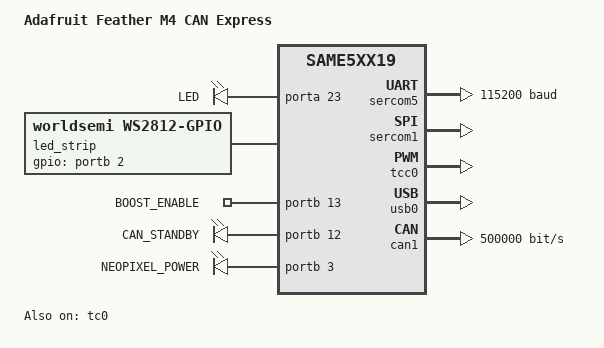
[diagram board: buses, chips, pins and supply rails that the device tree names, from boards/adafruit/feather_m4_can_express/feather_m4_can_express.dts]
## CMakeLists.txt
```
# SPDX-License-Identifier: Apache-2.0

cmake_minimum_required(VERSION 3.20.0)

# Add custom board directory
list(APPEND BOARD_ROOT ${CMAKE_CURRENT_SOURCE_DIR})

# Add custom DTS bindings directory
list(APPEND DTS_ROOT ${CMAKE_CURRENT_SOURCE_DIR})

find_package(Zephyr REQUIRED HINTS $ENV{ZEPHYR_BASE})
project(m4_express_blinky)

target_sources(app PRIVATE
    src/main.c
    src/ws2812_gpio_sam0.c
)
```

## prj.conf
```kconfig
# Logging - use immediate mode for USB CDC ACM compatibility
CONFIG_LOG=y
CONFIG_LOG_MODE_IMMEDIATE=y

# LED Strip driver
CONFIG_LED_STRIP=y
CONFIG_LED_STRIP_LOG_LEVEL_DBG=y

# USB CDC ACM for console
CONFIG_USB_DEVICE_STACK=y
CONFIG_USB_CDC_ACM=y
CONFIG_USB_DEVICE_INITIALIZE_AT_BOOT=y
CONFIG_CONSOLE=y
CONFIG_UART_CONSOLE=y

# USB device identification
CONFIG_USB_DEVICE_PRODUCT="Feather M4 CAN Express"
CONFIG_USB_DEVICE_VID=0x239A
CONFIG_USB_DEVICE_PID=0x0022

# Increase log buffer for debugging
CONFIG_LOG_BUFFER_SIZE=2048

# CAN bus support
CONFIG_CAN=y
CONFIG_CAN_LOG_LEVEL_DBG=y

# GPIO for transceiver control
CONFIG_GPIO=y
```

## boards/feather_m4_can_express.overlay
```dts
/*
 * Application overlay for Feather M4 CAN Express
 * Configures USB CDC ACM as console
 *
 * SPDX-License-Identifier: Apache-2.0
 */

/ {
    chosen {
        zephyr,console = &cdc_acm_uart0;
    };
};

&zephyr_udc0 {
    cdc_acm_uart0: cdc_acm_uart0 {
        compatible = "zephyr,cdc-acm-uart";
    };
};
```

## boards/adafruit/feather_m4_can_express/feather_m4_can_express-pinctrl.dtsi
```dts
/*
 * Copyright (c) 2024
 * SPDX-License-Identifier: Apache-2.0
 *
 * Pinctrl for Adafruit Feather M4 CAN Express (ATSAME51J19A)
 */

#include <dt-bindings/pinctrl/same51j-pinctrl.h>

&pinctrl {
	sercom1_spi_default: sercom1_spi_default {
		group1 {
			pinmux = <PB23C_SERCOM1_PAD3>,
				 <PA17C_SERCOM1_PAD1>,
				 <PB22C_SERCOM1_PAD2>;
		};
	};

	sercom2_i2c_default: sercom3_i2c_default {
		group1 {
			pinmux = <PA12C_SERCOM2_PAD0>,
				 <PA13C_SERCOM2_PAD1>;
		};
	};

	sercom5_uart_default: sercom5_uart_default {
		group1 {
			pinmux = <PB17C_SERCOM5_PAD1>,
				 <PB16C_SERCOM5_PAD0>;
		};
	};

	pwm0_default: pwm0_default {
		group1 {
			pinmux = <PA22G_TCC0_WO2>;
		};
	};

	tc0_default: tc0_default {
		group1 {
			pinmux = <PA5E_TC0_WO1>;
		};
	};

	usb_dc_default: usb_dc_default {
		group1 {
			pinmux = <PA25H_USB_DP>,
				 <PA24H_USB_DM>;
		};
	};

	/* CAN1: TX=PB14, RX=PB15, both on mux H */
	can1_default: can1_default {
		group1 {
			pinmux = <PB14H_CAN1_TX>,
				 <PB15H_CAN1_RX>;
		};
	};
};
```

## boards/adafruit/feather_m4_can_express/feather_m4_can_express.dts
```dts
/*
 * Copyright (c) 2024
 * SPDX-License-Identifier: Apache-2.0
 *
 * Adafruit Feather M4 CAN Express
 * Uses ATSAME51J19A (NOT SAMD51!) which has CAN support
 */

/dts-v1/;
#include <atmel/same5xx19.dtsi>
#include "feather_m4_can_express-pinctrl.dtsi"
#include <zephyr/dt-bindings/led/led.h>

/ {
	model = "Adafruit Feather M4 CAN Express";
	compatible = "adafruit,feather-m4-can-express";

	chosen {
		zephyr,console = &sercom5;
		zephyr,shell-uart = &sercom5;
		zephyr,sram = &sram0;
		zephyr,flash = &flash0;
		zephyr,code-partition = &code_partition;
		zephyr,canbus = &can1;
	};

	aliases {
		led0 = &led0;
		pwm-0 = &tcc0;
		pwm-1 = &tc0;
		led-strip = &led_strip;
		can-boost-enable = &boost_enable;
		can-standby = &can_standby;
	};

	leds {
		compatible = "gpio-leds";

		led0: led_0 {
			gpios = <&porta 23 0>;
			label = "LED";
		};
	};

	/* NeoPixel LED - PB02 data, PB03 power enable */
	led_strip: ws2812 {
		compatible = "worldsemi,ws2812-gpio";
		gpios = <&portb 2 0>;
		chain-length = <1>;
		color-mapping = <LED_COLOR_ID_GREEN
				 LED_COLOR_ID_RED
				 LED_COLOR_ID_BLUE
				 LED_COLOR_ID_WHITE>;
	};

	/* CAN transceiver control GPIOs */
	can_xcvr_ctrl {
		compatible = "gpio-leds";

		/* Boost converter enable: PB13 (HIGH to enable 5V for CAN bus) */
		boost_enable: boost_enable {
			gpios = <&portb 13 0>;
			label = "BOOST_ENABLE";
		};

		/* CAN transceiver standby: PB12 (LOW to enable transceiver) */
		can_standby: can_standby {
			gpios = <&portb 12 0>;
			label = "CAN_STANDBY";
		};
	};

	/* NeoPixel power enable: PB03 */
	neopixel_pwr {
		compatible = "gpio-leds";
		neopixel_power: neopixel_power {
			gpios = <&portb 3 0>;
			label = "NEOPIXEL_POWER";
		};
	};
};

&cpu0 {
	clock-frequency = <120000000>;
};

&sercom5 {
	status = "okay";
	compatible = "atmel,sam0-uart";
	current-speed = <115200>;
	rxpo = <1>;
	txpo = <0>;
	pinctrl-0 = <&sercom5_uart_default>;
	pinctrl-names = "default";
};

&sercom1 {
	status = "okay";
	compatible = "atmel,sam0-spi";
	dipo = <3>;
	dopo = <0>;
	#address-cells = <1>;
	#size-cells = <0>;
	pinctrl-0 = <&sercom1_spi_default>;
	pinctrl-names = "default";
};

&tcc0 {
	status = "okay";
	compatible = "atmel,sam0-tcc-pwm";
	prescaler = <8>;
	#pwm-cells = <2>;
	pinctrl-0 = <&pwm0_default>;
	pinctrl-names = "default";
};

&tc0 {
	status = "okay";
	compatible = "atmel,sam0-tc-pwm";
	prescaler = <1024>;
	#pwm-cells = <2>;
	channels = <2>;
	counter-size = <16>;
	pinctrl-0 = <&tc0_default>;
	pinctrl-names = "default";
};

zephyr_udc0: &usb0 {
	status = "okay";
	pinctrl-0 = <&usb_dc_default>;
	pinctrl-names = "default";
};

&dmac {
	status = "okay";
};

/* CAN1 controller - connected to on-board transceiver */
&can1 {
	status = "okay";
	pinctrl-0 = <&can1_default>;
	pinctrl-names = "default";
	bus-speed = <500000>;

	can-transceiver {
		max-bitrate = <1000000>;
	};
};

&flash0 {
	partitions {
		compatible = "fixed-partitions";
		#address-cells = <1>;
		#size-cells = <1>;

		boot_partition: partition@0 {
			label = "uf2";
			reg = <0x00000000 DT_SIZE_K(16)>;
			read-only;
		};

		code_partition: partition@4000 {
			label = "code";
			reg = <0x4000 DT_SIZE_K(512-16-16)>;
			read-only;
		};

		storage_partition: partition@7c000 {
			label = "storage";
			reg = <0x7c000 DT_SIZE_K(16)>;
		};
	};
};
```

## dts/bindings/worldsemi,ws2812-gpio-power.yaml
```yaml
# Copyright (c) 2024
# SPDX-License-Identifier: Apache-2.0

description: |
  Worldsemi WS2812 LED strip with optional power control GPIO.

  Extension of the standard ws2812-gpio binding that adds support for
  boards where the NeoPixel has a separate power enable pin (like the
  Adafruit Feather M4 Express CAN).

compatible: "worldsemi,ws2812-gpio-power"

include: worldsemi,ws2812-gpio.yaml

properties:
  power-gpios:
    type: phandle-array
    description: |
      Optional GPIO pin that controls power to the NeoPixel.
      Set HIGH to enable power, LOW to disable.
      Required on boards like Feather M4 Express CAN where the
      NeoPixel is powered from a GPIO rather than the 3.3V rail.
```

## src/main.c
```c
/*
 * NeoPixel LED Strip + CAN Bus Demo for Adafruit Feather M4 CAN Express
 *
 * SPDX-License-Identifier: Apache-2.0
 */

#include <string.h>

#define LOG_LEVEL 4
#include <zephyr/logging/log.h>
LOG_MODULE_REGISTER(main);

#include <zephyr/kernel.h>
#include <zephyr/drivers/led_strip.h>
#include <zephyr/drivers/gpio.h>
#include <zephyr/drivers/can.h>
#include <zephyr/device.h>
#include <zephyr/sys/util.h>

#define STRIP_NUM_PIXELS 1

#define RGB(_r, _g, _b) { .r = (_r), .g = (_g), .b = (_b) }

static const struct led_rgb colors[] = {
	RGB(0x20, 0x00, 0x00), /* red */
	RGB(0x00, 0x20, 0x00), /* green */
	RGB(0x00, 0x00, 0x20), /* blue */
	RGB(0x20, 0x20, 0x20), /* white (RGB mix) */
};

static struct led_rgb pixels[STRIP_NUM_PIXELS];

/* Device handles */
static const struct device *const strip = DEVICE_DT_GET(DT_NODELABEL(led_strip));
static const struct device *const can_dev = DEVICE_DT_GET(DT_CHOSEN(zephyr_canbus));

/* GPIO for CAN transceiver control */
static const struct gpio_dt_spec boost_enable = GPIO_DT_SPEC_GET(DT_ALIAS(can_boost_enable), gpios);
static const struct gpio_dt_spec can_standby = GPIO_DT_SPEC_GET(DT_ALIAS(can_standby), gpios);

/* GPIO for NeoPixel power */
static const struct gpio_dt_spec neopixel_pwr = GPIO_DT_SPEC_GET(DT_NODELABEL(neopixel_power), gpios);

/* CAN receive thread stack */
#define CAN_RX_THREAD_STACK_SIZE 1024
#define CAN_RX_THREAD_PRIORITY 5

K_THREAD_STACK_DEFINE(can_rx_stack, CAN_RX_THREAD_STACK_SIZE);
static struct k_thread can_rx_thread_data;

/* CAN message queue */
CAN_MSGQ_DEFINE(can_msgq, 10);

static uint32_t rx_frame_count = 0;

/**
 * Enable the CAN transceiver hardware
 * - Set BOOST_ENABLE high to power the 5V boost converter
 * - Set CAN_STANDBY low to take transceiver out of standby
 */
static int can_transceiver_enable(void)
{
	int ret;

	/* Configure boost enable pin */
	if (!gpio_is_ready_dt(&boost_enable)) {
		LOG_ERR("Boost enable GPIO not ready");
		return -ENODEV;
	}

	ret = gpio_pin_configure_dt(&boost_enable, GPIO_OUTPUT_ACTIVE);
	if (ret < 0) {
		LOG_ERR("Failed to configure boost enable: %d", ret);
		return ret;
	}

	/* Configure standby pin */
	if (!gpio_is_ready_dt(&can_standby)) {
		LOG_ERR("CAN standby GPIO not ready");
		return -ENODEV;
	}

	/* Set standby LOW to enable transceiver (active low) */
	ret = gpio_pin_configure_dt(&can_standby, GPIO_OUTPUT_INACTIVE);
	if (ret < 0) {
		LOG_ERR("Failed to configure CAN standby: %d", ret);
		return ret;
	}

	LOG_INF("CAN transceiver enabled (boost=HIGH, standby=LOW)");
	return 0;
}

/**
 * CAN receive thread - listens for frames and logs them
 */
static void can_rx_thread(void *arg1, void *arg2, void *arg3)
{
	ARG_UNUSED(arg1);
	ARG_UNUSED(arg2);
	ARG_UNUSED(arg3);

	struct can_frame frame;

	LOG_INF("CAN RX thread started, waiting for frames...");

	while (1) {
		/* Wait for a CAN frame */
		if (k_msgq_get(&can_msgq, &frame, K_FOREVER) == 0) {
			rx_frame_count++;

			LOG_INF("CAN frame #%u: ID=0x%03X [%s] DLC=%d",
				rx_frame_count,
				frame.id,
				(frame.flags & CAN_FRAME_IDE) ? "EXT" : "STD",
				frame.dlc);

			/* Print data bytes */
			if (frame.dlc > 0) {
				char hex_buf[64];
				int pos = 0;
				for (int i = 0; i < frame.dlc && pos < sizeof(hex_buf) - 3; i++) {
					pos += snprintf(hex_buf + pos, sizeof(hex_buf) - pos,
							"%02X ", frame.data[i]);
				}
				LOG_INF("  Data: %s", hex_buf);
			}
		}
	}
}

/**
 * CAN receive callback - queues received frames
 */
static void can_rx_callback(const struct device *dev, struct can_frame *frame, void *user_data)
{
	ARG_UNUSED(dev);
	ARG_UNUSED(user_data);

	/* Queue the frame for processing by the RX thread */
	if (k_msgq_put(&can_msgq, frame, K_NO_WAIT) != 0) {
		LOG_WRN("CAN RX queue full, frame dropped");
	}
}

/**
 * Initialize CAN bus at 500 kbit/s
 */
static int can_init(void)
{
	int ret;
	struct can_filter filter = {
		.flags = 0,  /* Accept all standard frames */
		.id = 0,
		.mask = 0,   /* Match any ID */
	};

	if (!device_is_ready(can_dev)) {
		LOG_ERR("CAN device not ready");
		return -ENODEV;
	}

	/* Set bitrate to 500 kbit/s */
	ret = can_set_bitrate(can_dev, 500000);
	if (ret < 0) {
		LOG_ERR("Failed to set CAN bitrate: %d", ret);
		return ret;
	}

	/* Add a filter to receive all frames */
	ret = can_add_rx_filter_msgq(can_dev, &can_msgq, &filter);
	if (ret < 0) {
		LOG_ERR("Failed to add CAN filter: %d", ret);
		return ret;
	}

	/* Start the CAN controller */
	ret = can_start(can_dev);
	if (ret < 0) {
		LOG_ERR("Failed to start CAN: %d", ret);
		return ret;
	}

	LOG_INF("CAN initialized at 500 kbit/s");

	/* Start the RX processing thread */
	k_thread_create(&can_rx_thread_data, can_rx_stack,
			K_THREAD_STACK_SIZEOF(can_rx_stack),
			can_rx_thread, NULL, NULL, NULL,
			CAN_RX_THREAD_PRIORITY, 0, K_NO_WAIT);
	k_thread_name_set(&can_rx_thread_data, "can_rx");

	return 0;
}

/**
 * Enable NeoPixel power
 */
static int neopixel_power_enable(void)
{
	int ret;

	if (!gpio_is_ready_dt(&neopixel_pwr)) {
		LOG_WRN("NeoPixel power GPIO not ready");
		return -ENODEV;
	}

	ret = gpio_pin_configure_dt(&neopixel_pwr, GPIO_OUTPUT_ACTIVE);
	if (ret < 0) {
		LOG_ERR("Failed to enable NeoPixel power: %d", ret);
		return ret;
	}

	LOG_INF("NeoPixel power enabled");
	return 0;
}

int main(void)
{
	size_t color = 0;
	int rc;

	/* Immediate marker - should appear right away */
	printk("\n*** main() started ***\n");

	/* USB is auto-initialized at boot (CONFIG_USB_DEVICE_INITIALIZE_AT_BOOT=y) */
	/* Brief delay to allow USB enumeration to complete */
	k_sleep(K_MSEC(1000));

	printk("\n=== Feather M4 CAN Express Demo ===\n");
	printk("NeoPixel + CAN Bus @ 500 kbit/s\n\n");

	/* Enable NeoPixel power */
	neopixel_power_enable();

	/* Enable CAN transceiver */
	rc = can_transceiver_enable();
	if (rc < 0) {
		LOG_ERR("Failed to enable CAN transceiver");
	}

	/* Initialize CAN */
	rc = can_init();
	if (rc < 0) {
		LOG_ERR("Failed to initialize CAN");
	}

	/* Check LED strip device */
	printk("Strip device: %s\n", strip->name);

	if (device_is_ready(strip)) {
		LOG_INF("LED strip device is ready");
	} else {
		LOG_ERR("LED strip device %s is NOT ready", strip->name);
	}

	LOG_INF("Starting color cycle: Red -> Green -> Blue -> White");
	LOG_INF("CAN RX active - send frames to see them logged");

	while (1) {
		memset(&pixels, 0x00, sizeof(pixels));
		memcpy(&pixels[0], &colors[color], sizeof(struct led_rgb));

		LOG_INF("Color %zu: R=%02x G=%02x B=%02x (CAN frames: %u)",
			color, pixels[0].r, pixels[0].g, pixels[0].b, rx_frame_count);

		rc = led_strip_update_rgb(strip, pixels, STRIP_NUM_PIXELS);
		if (rc) {
			LOG_ERR("led_strip_update_rgb failed: %d", rc);
		}

		k_sleep(K_MSEC(1000));

		color = (color + 1) % ARRAY_SIZE(colors);
	}

	return 0;
}
```

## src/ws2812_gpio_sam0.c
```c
/*
 * WS2812 GPIO driver for SAM0 (SAMD51, etc.)
 *
 * Bit-banged WS2812/NeoPixel driver optimized for SAMD51 at 120 MHz.
 * Based on the nRF GPIO driver, adapted for SAM0 register layout and timing.
 *
 * Features:
 *   - Direct register access for precise timing
 *   - Optional power GPIO support (for boards like Feather M4 CAN)
 *   - Automatic PMUX disable for GPIO mode
 *
 * SPDX-License-Identifier: Apache-2.0
 */

#include <zephyr/drivers/led_strip.h>
#include <string.h>

#define LOG_LEVEL CONFIG_LED_STRIP_LOG_LEVEL
#include <zephyr/logging/log.h>
LOG_MODULE_REGISTER(ws2812_gpio_sam0);

#include <zephyr/kernel.h>
#include <soc.h>
#include <zephyr/drivers/gpio.h>
#include <zephyr/device.h>
#include <zephyr/dt-bindings/led/led.h>

/* Check if this is a SAM0 device */
#if !defined(PORT) && !defined(PortGroup)
#error "This driver is only for SAM0 devices (SAMD51, etc.)"
#endif

struct ws2812_gpio_sam0_cfg {
	struct gpio_dt_spec gpio;
	struct gpio_dt_spec power_gpio;
	bool has_power_gpio;
	uint8_t num_colors;
	const uint8_t *color_mapping;
	size_t length;
};

/*
 * SAM0 GPIO register layout for PortGroup:
 *   OUTCLR at offset 0x14
 *   OUTSET at offset 0x18
 *
 * We use OUTCLR as base, so:
 *   base + 0 = OUTCLR (set low)
 *   base + 4 = OUTSET (set high)
 */
#define SET_HIGH "str %[p], [%[r], #4]\n"
#define SET_LOW "str %[p], [%[r], #0]\n"

/*
 * Timing for WS2812 at 120 MHz (SAMD51):
 * Each NOP = 1 cycle = 8.33ns
 *
 * WS2812 timing requirements (from datasheet):
 *   T0H: 400ns ± 150ns  -> target ~48 cycles
 *   T0L: 850ns ± 150ns  -> target ~102 cycles
 *   T1H: 800ns ± 150ns  -> target ~96 cycles
 *   T1L: 450ns ± 150ns  -> target ~54 cycles
 */
#ifndef WS2812_SAM0_DELAY_T1H
#define WS2812_SAM0_DELAY_T1H 90
#endif
#ifndef WS2812_SAM0_DELAY_T1L
#define WS2812_SAM0_DELAY_T1L 45
#endif
#ifndef WS2812_SAM0_DELAY_T0H
#define WS2812_SAM0_DELAY_T0H 40
#endif
#ifndef WS2812_SAM0_DELAY_T0L
#define WS2812_SAM0_DELAY_T0L 95
#endif

#define NOPS(i, _) "nop\n"
#define NOP_N_TIMES(n) LISTIFY(n, NOPS, ())

/* Send out a 1 bit's pulse */
#define ONE_BIT(base, pin) do {                     \
	__asm volatile (SET_HIGH                    \
			NOP_N_TIMES(WS2812_SAM0_DELAY_T1H)   \
			SET_LOW                         \
			NOP_N_TIMES(WS2812_SAM0_DELAY_T1L)   \
			::                              \
			[r] "l" (base),                 \
			[p] "l" (pin)); } while (false)

/* Send out a 0 bit's pulse */
#define ZERO_BIT(base, pin) do {                    \
	__asm volatile (SET_HIGH                    \
			NOP_N_TIMES(WS2812_SAM0_DELAY_T0H)   \
			SET_LOW                         \
			NOP_N_TIMES(WS2812_SAM0_DELAY_T0L)   \
			::                              \
			[r] "l" (base),                 \
			[p] "l" (pin)); } while (false)

/*
 * Get PortGroup pointer for a given GPIO port device.
 */
static inline PortGroup *get_port_group(const struct device *gpio_dev)
{
	const char *name = gpio_dev->name;

	if (name[4] == 'a' || name[4] == 'A') {
		return &PORT->Group[0];
	} else if (name[4] == 'b' || name[4] == 'B') {
		return &PORT->Group[1];
	} else if (name[4] == 'c' || name[4] == 'C') {
		return &PORT->Group[2];
	} else if (name[4] == 'd' || name[4] == 'D') {
		return &PORT->Group[3];
	}

	return &PORT->Group[1];
}

static int send_buf(const struct ws2812_gpio_sam0_cfg *config,
		    uint8_t *buf, size_t len)
{
	PortGroup *port = get_port_group(config->gpio.port);
	volatile uint32_t *base = &port->OUTCLR.reg;
	const uint32_t val = BIT(config->gpio.pin);
	unsigned int key;

	port->OUTCLR.reg = val;
	k_busy_wait(80);

	key = irq_lock();

	while (len--) {
		uint32_t b = *buf++;
		int32_t i;

		for (i = 7; i >= 0; i--) {
			if (b & BIT(i)) {
				ONE_BIT(base, val);
			} else {
				ZERO_BIT(base, val);
			}
		}
	}

	irq_unlock(key);
	port->OUTCLR.reg = val;

	return 0;
}

static int ws2812_gpio_sam0_update_rgb(const struct device *dev,
				       struct led_rgb *pixels,
				       size_t num_pixels)
{
	const struct ws2812_gpio_sam0_cfg *config = dev->config;
	uint8_t *ptr = (uint8_t *)pixels;
	size_t i;

	for (i = 0; i < num_pixels; i++) {
		uint8_t j;
		const struct led_rgb current_pixel = pixels[i];

		for (j = 0; j < config->num_colors; j++) {
			switch (config->color_mapping[j]) {
			case LED_COLOR_ID_WHITE:
				*ptr++ = 0;
				break;
			case LED_COLOR_ID_RED:
				*ptr++ = current_pixel.r;
				break;
			case LED_COLOR_ID_GREEN:
				*ptr++ = current_pixel.g;
				break;
			case LED_COLOR_ID_BLUE:
				*ptr++ = current_pixel.b;
				break;
			default:
				return -EINVAL;
			}
		}
	}

	return send_buf(config, (uint8_t *)pixels, num_pixels * config->num_colors);
}

static size_t ws2812_gpio_sam0_length(const struct device *dev)
{
	const struct ws2812_gpio_sam0_cfg *config = dev->config;

	return config->length;
}

static const struct led_strip_driver_api ws2812_gpio_sam0_api = {
	.update_rgb = ws2812_gpio_sam0_update_rgb,
	.length = ws2812_gpio_sam0_length,
};

static int ws2812_gpio_sam0_init(const struct device *dev)
{
	const struct ws2812_gpio_sam0_cfg *cfg = dev->config;
	PortGroup *port;
	PortGroup *power_port;
	uint8_t i;
	uint8_t pin = cfg->gpio.pin;
	int ret;

	/*
	 * Enable power to the NeoPixel if power-gpios is defined.
	 * Required on boards like Feather M4 CAN where the NeoPixel
	 * has a separate power control pin.
	 */
	if (cfg->has_power_gpio) {
		if (!gpio_is_ready_dt(&cfg->power_gpio)) {
			LOG_ERR("Power GPIO device not ready");
			return -ENODEV;
		}

		power_port = get_port_group(cfg->power_gpio.port);
		power_port->PINCFG[cfg->power_gpio.pin].reg &= ~PORT_PINCFG_PMUXEN;

		ret = gpio_pin_configure_dt(&cfg->power_gpio, GPIO_OUTPUT_HIGH);
		if (ret < 0) {
			LOG_ERR("Failed to configure power GPIO: %d", ret);
			return ret;
		}

		LOG_DBG("NeoPixel power enabled on port %s pin %d",
			cfg->power_gpio.port->name, cfg->power_gpio.pin);

		k_msleep(10);
	}

	if (!gpio_is_ready_dt(&cfg->gpio)) {
		LOG_ERR("GPIO device not ready");
		return -ENODEV;
	}

	for (i = 0; i < cfg->num_colors; i++) {
		switch (cfg->color_mapping[i]) {
		case LED_COLOR_ID_WHITE:
		case LED_COLOR_ID_RED:
		case LED_COLOR_ID_GREEN:
		case LED_COLOR_ID_BLUE:
			break;
		default:
			LOG_ERR("%s: invalid channel to color mapping", dev->name);
			return -EINVAL;
		}
	}

	port = get_port_group(cfg->gpio.port);

	/*
	 * Clear PMUXEN to disconnect pin from any peripheral (SERCOM, etc.)
	 * and enable GPIO mode.
	 */
	port->PINCFG[pin].reg &= ~PORT_PINCFG_PMUXEN;

	ret = gpio_pin_configure_dt(&cfg->gpio, GPIO_OUTPUT_LOW);
	if (ret < 0) {
		LOG_ERR("Failed to configure GPIO: %d", ret);
		return ret;
	}

	port->DIRSET.reg = BIT(pin);
	port->OUTCLR.reg = BIT(pin);

	LOG_DBG("WS2812 SAM0 GPIO driver initialized on port %s pin %d",
		cfg->gpio.port->name, pin);

	return 0;
}

/* Color mapping for RGBW NeoPixels (GRBW wire order) */
static const uint8_t ws2812_sam0_color_mapping[] = {
	LED_COLOR_ID_GREEN,
	LED_COLOR_ID_RED,
	LED_COLOR_ID_BLUE,
	LED_COLOR_ID_WHITE,
};

#define HAS_POWER_GPIO DT_NODE_HAS_PROP(DT_NODELABEL(led_strip), power_gpios)

static const struct ws2812_gpio_sam0_cfg ws2812_gpio_sam0_cfg = {
	.gpio = GPIO_DT_SPEC_GET(DT_NODELABEL(led_strip), gpios),
#if HAS_POWER_GPIO
	.power_gpio = GPIO_DT_SPEC_GET(DT_NODELABEL(led_strip), power_gpios),
	.has_power_gpio = true,
#else
	.has_power_gpio = false,
#endif
	.num_colors = 4,
	.color_mapping = ws2812_sam0_color_mapping,
	.length = DT_PROP(DT_NODELABEL(led_strip), chain_length),
};

DEVICE_DT_DEFINE(DT_NODELABEL(led_strip),
		 ws2812_gpio_sam0_init,
		 NULL,
		 NULL,
		 &ws2812_gpio_sam0_cfg,
		 POST_KERNEL,
		 CONFIG_LED_STRIP_INIT_PRIORITY,
		 &ws2812_gpio_sam0_api);
```
